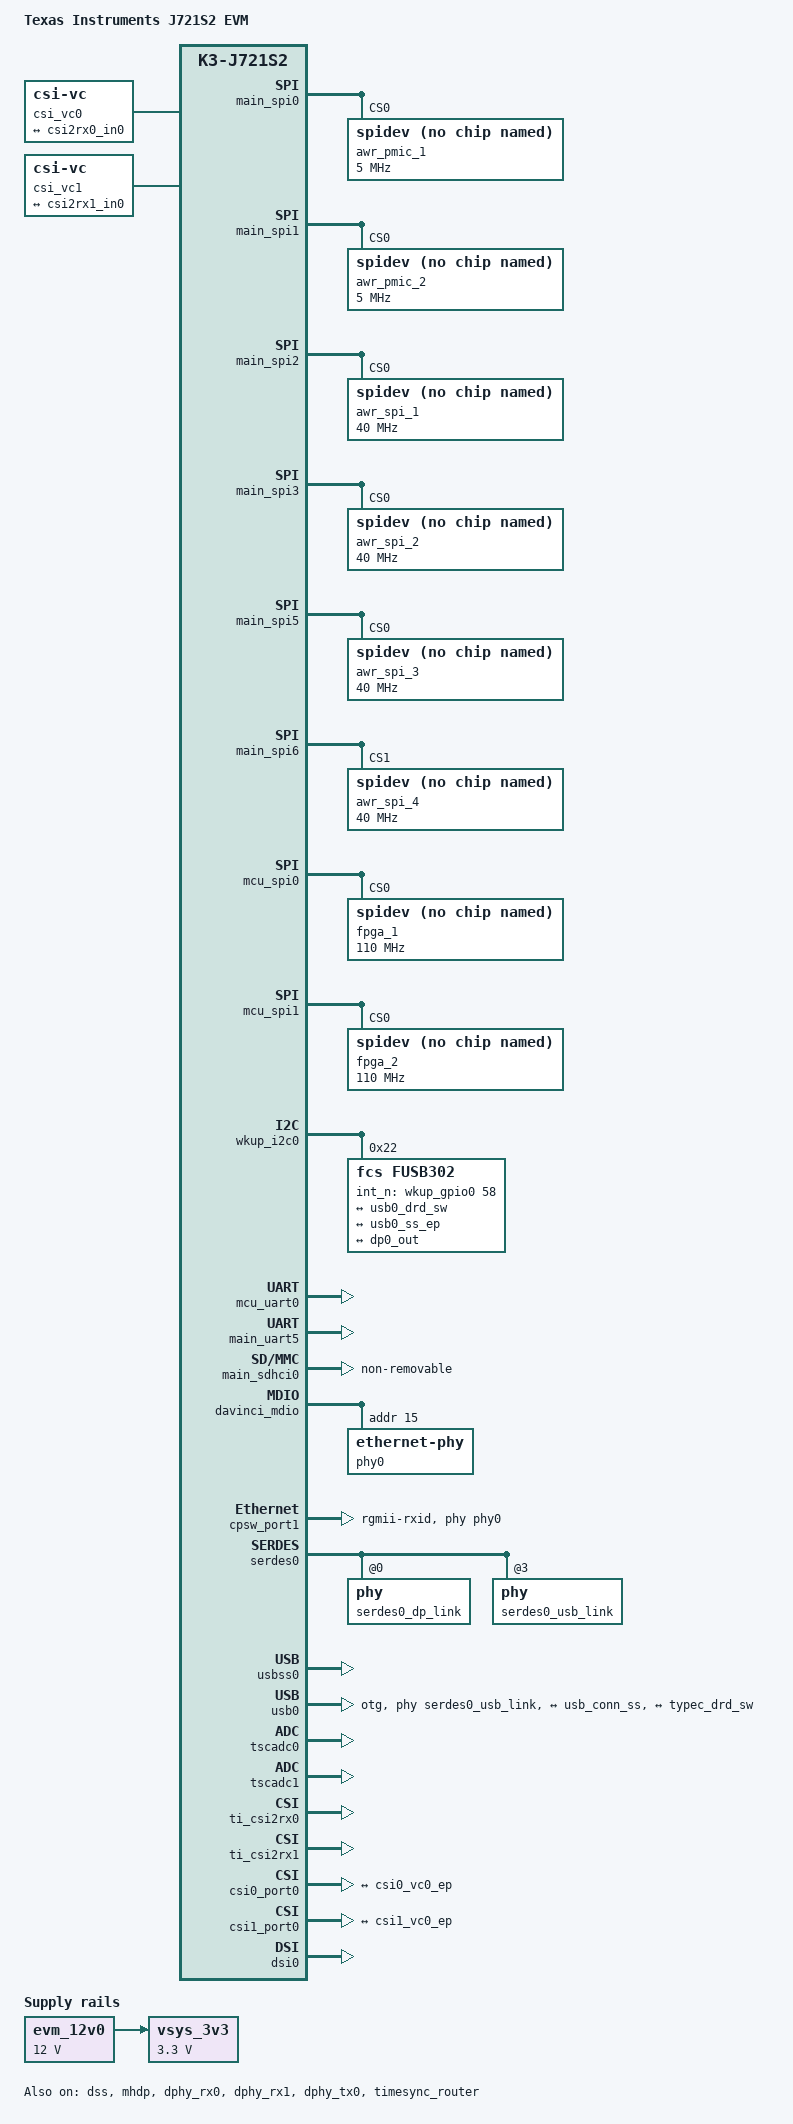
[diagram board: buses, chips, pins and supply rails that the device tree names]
// SPDX-License-Identifier: GPL-2.0
/*
 * Copyright (C) 2021 Texas Instruments Incorporated - https://www.ti.com/
 *
 * Common Processor Board: https://www.ti.com/tool/J721EXCPXEVM
 */

/dts-v1/;

#include "k3-j721s2-som-p0.dtsi"
#include <dt-bindings/net/ti-dp83867.h>
#include <dt-bindings/phy/phy-cadence.h>
#include <dt-bindings/phy/phy.h>
#include <dt-bindings/mux/ti-serdes.h>
#include <dt-bindings/usb/pd.h>

/ {
	compatible = "ti,j721s2-evm", "ti,j721s2";
	model = "Texas Instruments J721S2 EVM";

	chosen {
		//stdout-path = "serial2:115200n8";
		bootargs = "console=ttyS2,115200n8 mitigations=off root=/dev/mmcblk0p2";
	};

	aliases {
		serial0 = &wkup_uart0;
		serial1 = &mcu_uart0;
		serial2 = &main_uart5;
		mmc0 = &main_sdhci0;
		can0 = &main_mcan16;
		can1 = &mcu_mcan0;
		can2 = &mcu_mcan1;
		can3 = &main_mcan3;
		can4 = &main_mcan5;
	};

	evm_12v0: fixedregulator-evm12v0 {
		/* main supply */
		compatible = "regulator-fixed";
		regulator-name = "evm_12v0";
		regulator-min-microvolt = <12000000>;
		regulator-max-microvolt = <12000000>;
		regulator-always-on;
		regulator-boot-on;
	};

	vsys_3v3: fixedregulator-vsys3v3 {
		/* Output of LM5140 */
		compatible = "regulator-fixed";
		regulator-name = "vsys_3v3";
		regulator-min-microvolt = <3300000>;
		regulator-max-microvolt = <3300000>;
		vin-supply = <&evm_12v0>;
		regulator-always-on;
		regulator-boot-on;
	};

	csi_vc0: csi-vc0 {
		compatible = "csi-vc";
		port {
			csi0_vc0_ep: endpoint {
				remote-endpoint = <&csi2rx0_in0>;
				clock-lanes = <0>;
				data-lanes = <1 2 3 4>;
			};
		};
	};

	csi_vc1: csi-vc1 {
		compatible = "csi-vc";
		port {
			csi1_vc0_ep: endpoint {
				remote-endpoint = <&csi2rx1_in0>;
				clock-lanes = <0>;
				data-lanes = <1 2 3 4>;
			};
		};
	};
};

&main_spi0 {
	status = "okay";
	pinctrl-names = "default";
	pinctrl-0 = <&main_spi0_pins_default>;
	ti,spi-num-cs = <1>;

	awr_pmic_1: spi@0 {
		compatible = "rohm,dh2228fv";
		reg = <0>;
		spi-max-frequency = <5000000>;
	};
};

&main_spi1 {
	status = "okay";
	pinctrl-names = "default";
	pinctrl-0 = <&main_spi1_pins_default>;
	ti,spi-num-cs = <1>;

	awr_pmic_2: spi@0 {
		compatible = "rohm,dh2228fv";
		reg = <0>;
		spi-max-frequency = <5000000>;
	};
};

&main_spi2 {
	status = "okay";
	pinctrl-names = "default";
	pinctrl-0 = <&main_spi2_pins_default>;
	ti,spi-num-cs = <1>;

	awr_spi_1: spi@0 {
		compatible = "rohm,dh2228fv";
		reg = <0>;
		spi-max-frequency = <40000000>;
	};
};

&main_spi3 {
	status = "okay";
	pinctrl-names = "default";
	pinctrl-0 = <&main_spi3_pins_default>;
	ti,spi-num-cs = <1>;

	awr_spi_2: spi@0 {
		compatible = "rohm,dh2228fv";
		reg = <0>;
		spi-max-frequency = <40000000>;
	};
};

&main_spi5 {
	status = "okay";
	pinctrl-names = "default";
	pinctrl-0 = <&main_spi5_pins_default>;
	ti,spi-num-cs = <1>;

	awr_spi_3: spi@0 {
		compatible = "rohm,dh2228fv";
		reg = <0>;
		spi-max-frequency = <40000000>;
	};
};

&main_spi6 {
	status = "okay";
	pinctrl-names = "default";
	pinctrl-0 = <&main_spi6_pins_default>;
	ti,spi-num-cs = <2>;

	awr_spi_4: spi@1 {
		compatible = "rohm,dh2228fv";
		reg = <1>;
		spi-max-frequency = <40000000>;
	};
};

&mcu_spi0 {
	status = "okay";
	pinctrl-names = "default";
	pinctrl-0 = <&mcu_spi0_pins_default>;
	ti,spi-num-cs = <1>;

	fpga_1: spi@0 {
		compatible = "rohm,dh2228fv";
		reg = <0>;
		spi-max-frequency = <110000000>;
	};
};

&mcu_spi1 {
	status = "okay";
	pinctrl-names = "default";
	pinctrl-0 = <&mcu_spi1_pins_default>;
	ti,spi-num-cs = <1>;

	fpga_2: spi@0 {
		compatible = "rohm,dh2228fv";
		reg = <0>;
		spi-max-frequency = <110000000>;
	};
};

&wkup_i2c0 {
	status = "okay";

	fusb302@22 {
		compatible = "fcs,fusb302";
		reg = <0x22>;
		pinctrl-names = "default";
		pinctrl-0 = <&fusb302_cc_int>;
		fcs,int_n-gpios = <&wkup_gpio0 58 GPIO_ACTIVE_HIGH>;

		port {
			typec_drd_sw: endpoint {
				remote-endpoint = <&usb0_drd_sw>;
			};
		};

		typec_con: connector {
			compatible = "usb-c-connector";
			label = "USB-C";
			power-role = "sink";
			data-role = "dual";
			op-sink-microwatt = <27000000>;
			sink-pdos = <
				PDO_FIXED(5000, 3000, PDO_FIXED_USB_COMM | PDO_FIXED_DATA_SWAP)
				PDO_FIXED(20000, 3000,
					PDO_FIXED_HIGHER_CAP |
					PDO_FIXED_USB_COMM |
					PDO_FIXED_DATA_SWAP)
				PDO_VAR(9000, 20000, 3000)>;
			displayport = <&mhdp>;

			altmodes {
				displayport {
					svid = <0xff01>;
					vdo = <0x00001846>;
				};
			};

			ports {
				#address-cells = <1>;
				#size-cells = <0>;

				port@1 {
					reg = <1>;
					usb_conn_ss: endpoint {
						remote-endpoint = <&usb0_ss_ep>;
					};
				};

				port@2 {
					reg = <2>;
					dp_conn: endpoint {
						remote-endpoint = <&dp0_out>;
					};
				};
			};
		};
	};
};

&main_mcan16 {
	status = "disabled";
};

&main_pmx0 {
	main_uart5_pins_default: main-uart5-pins-default {
		pinctrl-single,pins = <
			J721S2_IOPAD(0x008, PIN_INPUT, 11) /* (AC24) MCAN12_RX.UART5_RXD */
			J721S2_IOPAD(0x004, PIN_OUTPUT, 11) /* (W25) MCAN12_TX.UART5_TXD */
		>;
	};

	main_uart3_pins_default: main-uart3pins-default {
		pinctrl-single,pins = <
			J721S2_IOPAD(0x078, PIN_INPUT, 11) /* (Y25) MCAN_RX.UART3_RXD */
			J721S2_IOPAD(0x074, PIN_OUTPUT, 11) /* (R28) MCAN_TX.UART3_TXD */
		>;
	};

	main_i2c3_pins_default: main-i2c3-pins-default {
		pinctrl-single,pins = <
			J721S2_IOPAD(0x064, PIN_INPUT_PULLUP, 13) /* (W28) MCAN0_TX.I2C3_SCL */
			J721S2_IOPAD(0x060, PIN_INPUT_PULLUP, 13) /* (AC27) MCASP2_AXR1.I2C3_SDA */
		>;
	};

	vdd_sd_dv_pins_default: vdd-sd-dv-pins-default {
		pinctrl-single,pins = <
			J721S2_IOPAD(0x020, PIN_INPUT, 7) /* (AA23) MCAN15_RX.GPIO0_8 */
		>;
	};

	main_usbss0_pins_default: main-usbss0-pins-default {
		pinctrl-single,pins = <
			J721S2_IOPAD(0x0ec, PIN_OUTPUT, 6) /* (AG25) TIMER_IO1.USB0_DRVVBUS */
		>;
	};

	main_spi0_pins_default: main-spi0-pins-default {
		pinctrl-single,pins = <
			/* AWR PMIC 1 */
			J721S2_IOPAD(0x0d4, PIN_OUTPUT, 0) /* (AH27) SPI0_CLK */
			J721S2_IOPAD(0x0cc, PIN_OUTPUT, 0) /* (AE27) SPI0_CS0 */
			J721S2_IOPAD(0x0d8, PIN_INPUT, 0) /* (AG26) SPI0_D0 */
			J721S2_IOPAD(0x0dc, PIN_OUTPUT, 0) /* (AH26) SPI0_D1 */

			/* Power good */
			J721S2_IOPAD(0x094, PIN_INPUT, 7) /* (AA25) MCASP0_AXR9.GPIO0_37 */
		>;
	};

	main_spi1_pins_default: main-spi1-pins-default {
		pinctrl-single,pins = <
			/* AWR PMIC 2 */
			J721S2_IOPAD(0x104, PIN_OUTPUT, 8) /* (P23) MMC1_CLK.SPI1_CLK */
			J721S2_IOPAD(0x108, PIN_OUTPUT, 8) /* (N24) MMC1_CMD.SPI1_D1 */
			J721S2_IOPAD(0x0fc, PIN_INPUT, 8) /* (M23) MMC1_DAT0.SPI1_D0 */
			J721S2_IOPAD(0x0f0, PIN_OUTPUT, 8) /* (R22) MMC1_DAT3.SPI1_CS0 */

			/* Power good */
			J721S2_IOPAD(0x098, PIN_INPUT, 7) /* (V25) MCASP0_AXR10.GPIO0_38 */
		>;
	};

	main_spi2_pins_default: main-spi2-pins-default {
		pinctrl-single,pins = <
			/* PMIC Enable */
			J721S2_IOPAD(0x038, PIN_OUTPUT, 7) /* (AB28) MCASP0_ACLKX.GPIO0_14 */

			/* AWR 1 */
			J721S2_IOPAD(0x0a0, PIN_OUTPUT, 10) /* (AB25) MCASP0_AXR12.SPI2_CLK */
			J721S2_IOPAD(0x0a4, PIN_OUTPUT, 10) /* (T23)  MCASP0_AXR13.SPI2_CS0 */
			J721S2_IOPAD(0x0a8, PIN_INPUT,  10) /* (U24)  MCASP0_AXR14.SPI2_D0 */
			J721S2_IOPAD(0x0ac, PIN_OUTPUT, 10) /* (AC25) MCASP0_AXR15.SPI2_D1 */

			/* Host Interrupt */
			J721S2_IOPAD(0x09c, PIN_INPUT, 7) /* (T24) MCASP0_AXR11.GPIO0_39 */

			/* Reset */
			J721S2_IOPAD(0x054, PIN_OUTPUT, 7) /* (Y27) MCASP2_ACLKX.GPIO0_21 */
		>;
	};

	main_spi3_pins_default: main-spi3-pins-default {
		pinctrl-single,pins = <
			/* AWR 2 */
			J721S2_IOPAD(0x0bc, PIN_OUTPUT, 8) /* (V28) MCASP1_AFSX.SPI3_CS0 */
			J721S2_IOPAD(0x0c0, PIN_OUTPUT, 8) /* (T28) MCASP1_AXR0.SPI3_CLK */
			J721S2_IOPAD(0x04c, PIN_INPUT,  8) /* (V27) MCASP1_AXR1.SPI3_D0 */
			J721S2_IOPAD(0x050, PIN_OUTPUT, 8) /* (W27) MCASP1_AXR2.SPI3_D1 */

			/* Host Interrupt */
			J721S2_IOPAD(0x02c, PIN_INPUT, 7) /* (V23) GPIO0_11 */

			/* Reset */
			J721S2_IOPAD(0x058, PIN_OUTPUT, 7) /* (AA27) MCASP2_AFSX.GPIO0_22 */
		>;
	};

	main_spi5_pins_default: main-spi5-pins-default {
		pinctrl-single,pins = <
			/* AWR 3 */
			J721S2_IOPAD(0x068, PIN_OUTPUT, 8)  /* (U28) MCAN0_RX.SPI5_CS0 */
			J721S2_IOPAD(0x070, PIN_INPUT,  8)  /* (R27) MCAN1_RX.SPI5_D0 */
			J721S2_IOPAD(0x07c, PIN_OUTPUT, 8)  /* (T27) MCASP0_AXR3.SPI5_CLK */
			J721S2_IOPAD(0x088, PIN_OUTPUT, 11) /* (AD27) MCASP0_AXR6.SPI5_D1 */

			/* Host Interrupt */
			J721S2_IOPAD(0x08c, PIN_INPUT, 7) /* (T25) MCASP0_AXR7.GPIO0_35 */

			/* Reset */
			J721S2_IOPAD(0x05c, PIN_OUTPUT, 7) /* (AA26) MCASP2_AXR0.GPIO0_23 */
		>;
	};

	main_spi6_pins_default: main-spi6-pins-default {
		pinctrl-single,pins = <
			/* AWR 4 */
			J721S2_IOPAD(0x030, PIN_OUTPUT, 8) /* (T26) GPIO0_12.SPI6_CLK */
			J721S2_IOPAD(0x074, PIN_OUTPUT, 8) /* (R28) MCAN2_TX.SPI6_D1 */
			J721S2_IOPAD(0x078, PIN_OUTPUT, 8) /* (Y25) MCAN2_RX.SPI6_CS1 */
			J721S2_IOPAD(0x0c4, PIN_INPUT, 8)  /* (AB26) ECAP0_IN_APWM_OUT.SPI6_D0 */

			/* Host Interrupt */
			J721S2_IOPAD(0x00c, PIN_INPUT, 7) /* (AE28) MCAN13_TX.GPIO0_3 */

			/* Reset */
			J721S2_IOPAD(0x060, PIN_OUTPUT, 7) /* (AC27) MCASP2_AXR1.GPIO0_24 */
		>;
	};

	dp0_pins_default: dp0-pins-default {
		pinctrl-single,pins = <
			J721S2_IOPAD(0x0b8, PIN_INPUT_PULLUP, 3) /* (AA24) MCASP1_ACLKX.DP0_HPD */
		>;
	};
};

&wkup_pmx1 {
};

&wkup_pmx2 {
	mcu_cpsw_pins_default: mcu-cpsw-pins-default {
		pinctrl-single,pins = <
			J721S2_WKUP_IOPAD(0x02c, PIN_INPUT, 0) /* (B22) MCU_RGMII1_RD0 */
			J721S2_WKUP_IOPAD(0x028, PIN_INPUT, 0) /* (B21) MCU_RGMII1_RD1 */
			J721S2_WKUP_IOPAD(0x024, PIN_INPUT, 0) /* (C22) MCU_RGMII1_RD2 */
			J721S2_WKUP_IOPAD(0x020, PIN_INPUT, 0) /* (D23) MCU_RGMII1_RD3 */
			J721S2_WKUP_IOPAD(0x01c, PIN_INPUT, 0) /* (D22) MCU_RGMII1_RXC */
			J721S2_WKUP_IOPAD(0x004, PIN_INPUT, 0) /* (E23) MCU_RGMII1_RX_CTL */
			J721S2_WKUP_IOPAD(0x014, PIN_OUTPUT, 0) /* (F23) MCU_RGMII1_TD0 */
			J721S2_WKUP_IOPAD(0x010, PIN_OUTPUT, 0) /* (G22) MCU_RGMII1_TD1 */
			J721S2_WKUP_IOPAD(0x00c, PIN_OUTPUT, 0) /* (E21) MCU_RGMII1_TD2 */
			J721S2_WKUP_IOPAD(0x008, PIN_OUTPUT, 0) /* (E22) MCU_RGMII1_TD3 */
			J721S2_WKUP_IOPAD(0x018, PIN_OUTPUT, 0) /* (F21) MCU_RGMII1_TXC */
			J721S2_WKUP_IOPAD(0x000, PIN_OUTPUT, 0) /* (F22) MCU_RGMII1_TX_CTL */
		>;
	};

	mcu_mdio_pins_default: mcu-mdio-pins-default {
		pinctrl-single,pins = <
			J721S2_WKUP_IOPAD(0x034, PIN_OUTPUT, 0) /* (A21) MCU_MDIO0_MDC */
			J721S2_WKUP_IOPAD(0x030, PIN_INPUT, 0) /* (A22) MCU_MDIO0_MDIO */
		>;
	};

	mcu_mcan0_pins_default: mcu-mcan0-pins-default {
		pinctrl-single,pins = <
			J721S2_WKUP_IOPAD(0x054, PIN_INPUT, 0) /* (E28) MCU_MCAN0_RX */
			J721S2_WKUP_IOPAD(0x050, PIN_OUTPUT, 0) /* (E27) MCU_MCAN0_TX */
		>;
	};

	mcu_mcan1_pins_default: mcu-mcan1-pins-default {
		pinctrl-single,pins = <
			J721S2_WKUP_IOPAD(0x06c, PIN_INPUT, 0) /* (F26) WKUP_GPIO0_5.MCU_MCAN1_RX */
			J721S2_WKUP_IOPAD(0x068, PIN_OUTPUT, 0) /* (C23) WKUP_GPIO0_4.MCU_MCAN1_TX */
		>;
	};

	mcu_adc0_pins_default: mcu-adc0-pins-default {
		pinctrl-single,pins = <
			J721S2_WKUP_IOPAD(0x0cc, PIN_INPUT, 0) /* (L25) MCU_ADC0_AIN0 */
			J721S2_WKUP_IOPAD(0x0d0, PIN_INPUT, 0) /* (K25) MCU_ADC0_AIN1 */
			J721S2_WKUP_IOPAD(0x0d4, PIN_INPUT, 0) /* (M24) MCU_ADC0_AIN2 */
			J721S2_WKUP_IOPAD(0x0d8, PIN_INPUT, 0) /* (L24) MCU_ADC0_AIN3 */
			J721S2_WKUP_IOPAD(0x0dc, PIN_INPUT, 0) /* (L27) MCU_ADC0_AIN4 */
			J721S2_WKUP_IOPAD(0x0e0, PIN_INPUT, 0) /* (K24) MCU_ADC0_AIN5 */
			J721S2_WKUP_IOPAD(0x0e4, PIN_INPUT, 0) /* (M27) MCU_ADC0_AIN6 */
			J721S2_WKUP_IOPAD(0x0e8, PIN_INPUT, 0) /* (M26) MCU_ADC0_AIN7 */
		>;
	};

	mcu_adc1_pins_default: mcu-adc1-pins-default {
		pinctrl-single,pins = <
			J721S2_WKUP_IOPAD(0x0ec, PIN_INPUT, 0) /* (P25) MCU_ADC1_AIN0 */
			J721S2_WKUP_IOPAD(0x0f0, PIN_INPUT, 0) /* (R25) MCU_ADC1_AIN1 */
			J721S2_WKUP_IOPAD(0x0f4, PIN_INPUT, 0) /* (P28) MCU_ADC1_AIN2 */
			J721S2_WKUP_IOPAD(0x0f8, PIN_INPUT, 0) /* (P27) MCU_ADC1_AIN3 */
			J721S2_WKUP_IOPAD(0x0fc, PIN_INPUT, 0) /* (N25) MCU_ADC1_AIN4 */
			J721S2_WKUP_IOPAD(0x100, PIN_INPUT, 0) /* (P26) MCU_ADC1_AIN5 */
			J721S2_WKUP_IOPAD(0x104, PIN_INPUT, 0) /* (N26) MCU_ADC1_AIN6 */
			J721S2_WKUP_IOPAD(0x108, PIN_INPUT, 0) /* (N27) MCU_ADC1_AIN7 */
		>;
	};

	mcu_uart0_pins_default: mcu-uart0-pins-default {
		pinctrl-single,pins = <
			J721S2_WKUP_IOPAD(0x090, PIN_INPUT, 0) /* (B24) WKUP_GPIO0_14.MCU_UART0_CTSn */
			J721S2_WKUP_IOPAD(0x094, PIN_OUTPUT, 0) /* (D25) WKUP_GPIO0_15.MCU_UART0_RTSn */
			J721S2_WKUP_IOPAD(0x08c, PIN_INPUT, 0) /* (C24) WKUP_GPIO0_13.MCU_UART0_RXD */
			J721S2_WKUP_IOPAD(0x088, PIN_OUTPUT, 0) /* (C25) WKUP_GPIO0_12.MCU_UART0_TXD */
		>;
	};

	fusb302_cc_int: fusb302-cc-int {
		pinctrl-single,pins = <
			J721S2_WKUP_IOPAD(0x048, PIN_INPUT, 7) /* (AB24) WKUP_UART0_RXD.WKUP_GPIO0_58 */
		>;
	};

	mcu_spi0_pins_default: mcu-spi0-pins-default {
		pinctrl-single,pins = <
			J721S2_WKUP_IOPAD(0x038, PIN_OUTPUT, 0) /* (B27) MCU_SPI0_CLK */
			J721S2_WKUP_IOPAD(0x03C, PIN_INPUT_PULLDOWN, 0)  /* (D24) MCU_SPI0_D0 */
			J721S2_WKUP_IOPAD(0x040, PIN_OUTPUT, 0) /* (B25) MCU_SPI0_D1 */
			J721S2_WKUP_IOPAD(0x044, PIN_OUTPUT, 7) /* (B26) MCU_SPI0_CS0.WKUP_GPIO0_70 */

			/* FPGA CRESETN */
			J721S2_WKUP_IOPAD(0x080, PIN_OUTPUT, 7) /* (F27) WKUP_GPIO0_10 */

			/* FPGA CDONE */
			J721S2_WKUP_IOPAD(0x078, PIN_INPUT, 7) /* (F24) WKUP_GPIO0_8 */

			/* FPGA Merge Reset */
			J721S2_WKUP_IOPAD(0x70, PIN_OUTPUT, 7) /* (E25) WKUP_GPIO0_6 */
		>;
	};

	mcu_spi1_pins_default: mcu-spi1-pins-default {
		pinctrl-single,pins = <
			J721S2_WKUP_IOPAD(0x058, PIN_OUTPUT, 0) /* (D26) WKUP_GPIO0_0.MCU_SPI1_CLK */
			J721S2_WKUP_IOPAD(0x05c, PIN_INPUT_PULLDOWN, 0) /* (E24) WKUP_GPIO0_1.MCU_SPI1_D0 */
			J721S2_WKUP_IOPAD(0x060, PIN_OUTPUT, 0) /* (C28) WKUP_GPIO0_2.MCU_SPI1_D1 */
			J721S2_WKUP_IOPAD(0x064, PIN_OUTPUT, 7) /* (C27) WKUP_GPIO0_3 */

			/* FPGA CRESETN */
			J721S2_WKUP_IOPAD(0x084, PIN_OUTPUT, 7) /* (F25) WKUP_GPIO0_11 */

			/* FPGA CDONE */
			J721S2_WKUP_IOPAD(0x07c, PIN_INPUT, 7) /* (H26) WKUP_GPIO0_9 */

			/* FPGA Merge Reset */
			J721S2_WKUP_IOPAD(0x074, PIN_OUTPUT, 7) /* (F28) WKUP_GPIO0_7 */
		>;
	};
};

&main_gpio2 {
	status = "disabled";
};

&main_gpio4 {
	status = "disabled";
};

&main_gpio6 {
	status = "disabled";
};

&wkup_gpio1 {
	status = "disabled";
};

&mcu_uart0 {
	status = "okay";
	pinctrl-names = "default";
	pinctrl-0 = <&mcu_uart0_pins_default>;
};

&main_uart5 {
	status = "okay";
	pinctrl-names = "default";
	pinctrl-0 = <&main_uart5_pins_default>;
};

&vpu {
	sram-size = <0>;
};

/delete-node/ &mux0;
/delete-node/ &mux1;
/delete-node/ &exp_som;

&main_i2c0 {
	status = "disabled";
};

&main_sdhci0 {
	/* eMMC */
	non-removable;
	ti,driver-strength-ohm = <50>;
	disable-wp;
};

&main_sdhci1 {
	status = "disabled";
};

&mcu_cpsw {
	pinctrl-names = "default";
	pinctrl-0 = <&mcu_cpsw_pins_default &mcu_mdio_pins_default>;

	cpts@3d000 {
		/* Map HW4_TS_PUSH to GENF1 */
		ti,pps = <3 1>;
	};
};

&davinci_mdio {
	phy0: ethernet-phy@0 {
		reg = <0>;
		ti,rx-internal-delay = <DP83867_RGMIIDCTL_2_00_NS>;
		ti,fifo-depth = <DP83867_PHYCR_FIFO_DEPTH_4_B_NIB>;
		ti,min-output-impedance;
	};
};

&cpsw_port1 {
	phy-mode = "rgmii-rxid";
	phy-handle = <&phy0>;
};

&serdes_ln_ctrl {
	idle-states = <J721S2_SERDES0_LANE0_EDP_LANE0>, <J721S2_SERDES0_LANE1_EDP_LANE1>,
		      <J721S2_SERDES0_LANE2_IP4_UNUSED>, <J721S2_SERDES0_LANE3_USB>;
};

&serdes_refclk {
	clock-frequency = <100000000>;
};

/delete-node/ &torrent_phy_dp;
&serdes0 {
	status = "okay";

	serdes0_dp_link: phy@0 {
		reg = <0>;
		resets = <&serdes_wiz0 1>;
		cdns,phy-type = <PHY_TYPE_DP>;
		cdns,num-lanes = <2>;
		cdns,max-bit-rate = <5400>;
		#phy-cells = <0>;
	};
	serdes0_usb_link: phy@3 {
		reg = <3>;
		cdns,num-lanes = <1>;
		#phy-cells = <0>;
		cdns,phy-type = <PHY_TYPE_USB3>;
		resets = <&serdes_wiz0 4>;
	};
};

&mcu_conf {
	spi1_ctrl_mux: mux-controller@4060 {
		compatible = "mmio-mux";
		reg = <0x4060 0x4>;
		#mux-control-cells = <1>;
		/* SPI3 <-> SPI1 loopback mux */
		mux-reg-masks = <0x4060 0x1>;
		idle-states = <1>; /* Disable loopback */
	};
};

&usb_serdes_mux {
	idle-states = <0>; /* USB0 to SERDES lane 3 */
};

&edp_serdes_mux {
	idle-states = <0>; /* EDP0 to SERDES lane 0/1 */
};

&usbss0 {
	status = "okay";
	pinctrl-0 = <&main_usbss0_pins_default>;
	pinctrl-names = "default";
	ti,vbus-divider;
};

&usb0 {
	#address-cells = <1>;
	#size-cells = <0>;
	dr_mode = "otg";
	maximum-speed = "super-speed";
	phys = <&serdes0_usb_link>;
	phy-names = "cdns3,usb3-phy";
	usb-role-switch;

	port@0 {
		reg = <0>;
		usb0_ss_ep: endpoint {
			remote-endpoint = <&usb_conn_ss>;
		};
	};

	port@1 {
		reg = <1>;
		usb0_drd_sw: endpoint {
			remote-endpoint = <&typec_drd_sw>;
		};
	};
};

&pcie1_rc {
	status = "disabled";
};

&ospi0 {
	status = "disabled";
};

&tscadc0 {
	pinctrl-0 = <&mcu_adc0_pins_default>;
	pinctrl-names = "default";
	status = "okay";
	adc {
		ti,adc-channels = <0 1 2 3 4 5 6 7>;
	};
};

&tscadc1 {
	pinctrl-0 = <&mcu_adc1_pins_default>;
	pinctrl-names = "default";
	status = "okay";
	adc {
		ti,adc-channels = <0 1 2 3 4 5 6 7>;
	};
};

/delete-node/ &dsi_edp_bridge;

&dss {
	/*
	 * These clock assignments are chosen to enable the following outputs:
	 *
	 * VP0 - DisplayPort SST
	 * VP1 - DPI0
	 * VP2 - DSI
	 * VP3 - DPI1
	 */
	status = "okay";
	assigned-clocks = <&k3_clks 158 2>,
			  <&k3_clks 158 5>,
			  <&k3_clks 158 14>,
			  <&k3_clks 158 18>;
	assigned-clock-parents = <&k3_clks 158 3>,
				 <&k3_clks 158 7>,
				 <&k3_clks 158 16>,
				 <&k3_clks 158 22>;
};

&dss_ports {
	#address-cells = <1>;
	#size-cells = <0>;

	port@0 {
		reg = <0>;
		dpi0_out: endpoint {
			remote-endpoint = <&dp0_in>;
		};
	};
};

&mhdp {
	status = "okay";
	pinctrl-names = "default";
	pinctrl-0 = <&dp0_pins_default>;
	cdns,no-hpd;
	phys = <&serdes0_dp_link>;
	phy-names = "dpphy";
};

&dp0_ports {
	#address-cells = <1>;
	#size-cells = <0>;

	port@0 {
		reg = <0>;
		dp0_in: endpoint {
			remote-endpoint = <&dpi0_out>;
		};
	};

	port@4 {
		reg = <4>;
		dp0_out: endpoint {
			remote-endpoint = <&dp_conn>;
		};
	};
};

&ti_csi2rx0 {
	status = "okay";
	/* MIPI-CSI Connector */
};

&ti_csi2rx1 {
	status = "okay";
	/* MIPI-CSI Connector */
};

&csi0_port0 {
	status = "okay";

	csi2rx0_in0: endpoint {
		remote-endpoint = <&csi0_vc0_ep>;
		bus-type = <4>; /* CSI2 DPHY */
		clock-lanes = <0>;
		data-lanes = <1 2 3 4>;
	};
};

&csi1_port0 {
	status = "okay";

	csi2rx1_in0: endpoint {
		remote-endpoint = <&csi1_vc0_ep>;
		bus-type = <4>; /* CSI2 DPHY */
		clock-lanes = <0>;
		data-lanes = <1 2 3 4>;
	};
};

&dphy_rx0 {
	status = "okay";
};

&dphy_rx1 {
	status = "okay";
};

&dphy_tx0 {
	status = "okay";
};

&dsi0 {
	status = "okay";
};

&phy0 {
	reg = <0x0F>;
	/delete-property/ ti,rx-internal-delay;
	/delete-property/ ti,fifo-depth;
	/delete-property/ ti,min-output-impedance;
};

&main_sdhci0 {
	/delete-property/ mmc-hs400-1_8v;
};

#define K3_TS_OFFSET(pa, val)  (0x4+(pa)*4) (0x10000 | val)

&timesync_router {
	status = "okay";
	pinctrl-names = "default";
	pinctrl-0 = <&mcu_cpsw_cpts>;

	/* Use Time Sync Router to map GENF1 input to HW4_TS_PUSH output */
	mcu_cpsw_cpts: mcu-cpsw-cpts {
		pinctrl-single,pins = <
			/* pps [mcu cpsw cpts genf1] in17 -> out25 [mcu cpsw cpts hw4_push] */
			K3_TS_OFFSET(25, 17)
			>;
	};
};
